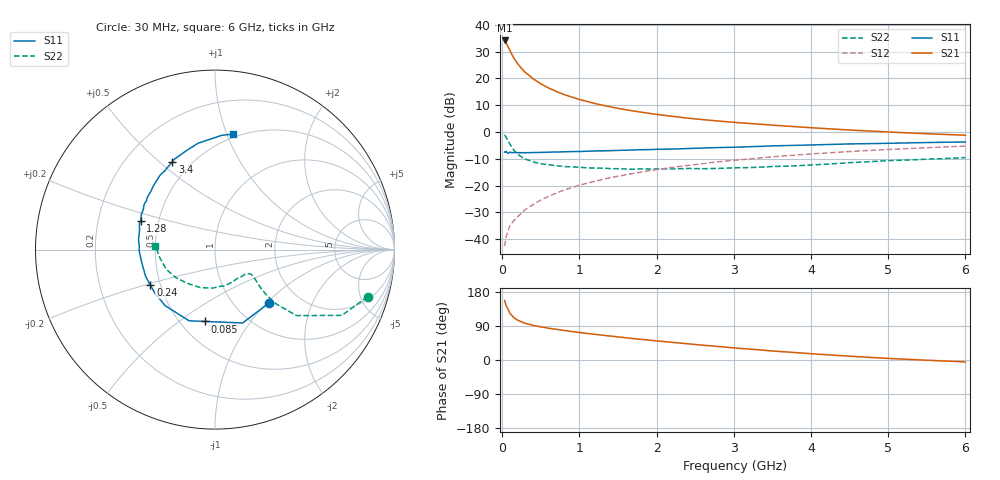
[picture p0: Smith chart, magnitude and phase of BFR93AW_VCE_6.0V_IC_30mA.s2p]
! Infineon Technologies  Discrete & RF Semiconductors
! BFR93AW
! VCE =  6.0 V,  IC =  30 mA
! Common Emitter S-Parameters:  Nov 2015
# GHz  S  MA  R  50
!  f  S11  S21  S12  S22
! GHz  MAG  ANG  MAG  ANG  MAG  ANG  MAG  ANG
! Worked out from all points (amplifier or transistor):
!   206 points, 30 MHz to 6 GHz, reference 50 ohm
!   highest |S21| = 34.2 dB at 30 MHz (marker M1)
!   |S21| within 3 dB of that: start of sweep to 84.3 MHz
!   unconditionally stable (mu >= 1): 468.5 MHz to 2.157 GHz
!   at 200 MHz: K = 0.80, MSG = 28.5 dB, |S12| = -31.6 dB
!   at 1.56 GHz: K = 1.04, MAG = 11.2 dB, |S12| = -16.2 dB
!   at 6 GHz: K = 0.90, MSG = 2.0 dB, |S12| = -5.2 dB
!   S11 on the Smith chart (normalised r, x): 30 MHz: 1.43, -1.03; 85 MHz: 0.66, -0.63; 240 MHz: 0.44, -0.21; 1.28 GHz: 0.40, +0.16; 3.4 GHz: 0.40, +0.55; 6 GHz: 0.47, +1.05
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0.03  0.4235 -44.5  51.29 157.0  0.0074 73.5  0.8898 -17.1
0.05  0.4368 -69.4  46.18 142.7  0.0112 69.7  0.7964 -27.4
0.085  0.4041 -97.8  36.13 130.0  0.0159 64.0  0.6444 -34.8
0.1  0.4221 -110.0  32.61 122.3  0.018 62.5  0.5837 -39.0
0.15  0.4178 -131.5  23.94 111.4  0.0222 62.6  0.4566 -41.6
0.2  0.4139 -143.7  18.75 104.8  0.0264 63.7  0.3852 -41.5
0.24  0.411 -151.2  15.96 101.2  0.0298 65.4  0.348 -40.5
0.3  0.4144 -159.0  12.9 96.6  0.0359 67.4  0.3121 -38.9
0.4  0.4136 -168.2  9.792 91.3  0.0442 70.3  0.2765 -36.1
0.5  0.4174 -174.3  7.921 87.2  0.0539 71.8  0.255 -34.8
0.6  0.4227 -179.1  6.631 83.8  0.0629 72.2  0.2443 -34.3
0.7  0.4228 176.6  5.721 80.7  0.0727 73.0  0.2363 -34.7
0.9  0.4309 169.5  4.486 75.1  0.0918 72.8  0.2245 -36.8
1.04  0.4353 165.2  3.911 71.6  0.1054 72.4  0.2178 -39.3
1.28  0.4445 159.0  3.212 65.9  0.1287 71.4  0.2122 -43.9
1.6  0.4567 151.1  2.608 58.7  0.1596 69.4  0.2039 -51.9
2.02  0.4771 141.9  2.117 49.9  0.2011 66.3  0.205 -65.0
3.1  0.5254 120.9  1.48 30.5  0.3058 56.6  0.2155 -96.9
3.4  0.5447 115.8  1.376 25.5  0.3351 53.6  0.223 -107.6
4.1  0.5782 104.7  1.179 15.2  0.3989 46.3  0.2469 -132.7
5.1  0.6199 91.3  0.988 3.3  0.4809 35.6  0.2956 -161.2
6  0.6516 81.0  0.873 -5.1  0.5471 26.1  0.3331 176.1
